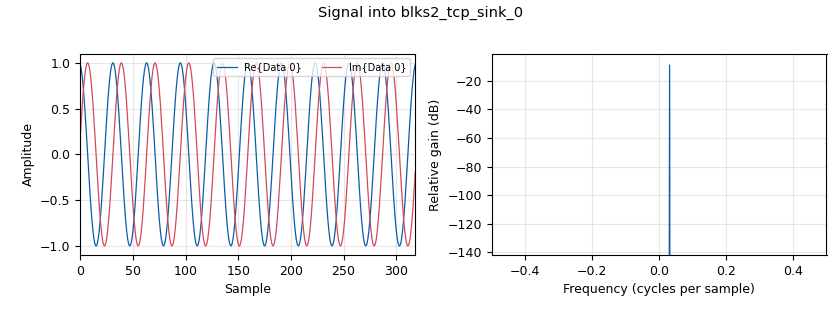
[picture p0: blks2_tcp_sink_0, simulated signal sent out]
<?xml version='1.0' encoding='utf-8'?>
<?grc format='1' created='3.7.11'?>
<flow_graph>
<block>
<key>options</key>
<param><key>id</key><value>top_block_client</value></param>
<param><key>generate_options</key><value>qt_gui</value></param>
</block>
<block>
<key>variable_qtgui_entry</key>
<param><key>id</key><value>freq</value></param>
<param><key>value</key><value>1e3</value></param>
<param><key>type</key><value>real</value></param>
</block>
<block>
<key>variable</key>
<param><key>id</key><value>samp_rate</value></param>
<param><key>value</key><value>32000</value></param>
</block>
<block>
<key>analog_sig_source_x</key>
<param><key>id</key><value>analog_sig_source_x_0</value></param>
<param><key>amp</key><value>1</value></param>
<param><key>freq</key><value>freq</value></param>
<param><key>offset</key><value>0</value></param>
<param><key>type</key><value>complex</value></param>
<param><key>samp_rate</key><value>samp_rate</value></param>
<param><key>waveform</key><value>analog.GR_COS_WAVE</value></param>
</block>
<block>
<key>blks2_tcp_sink</key>
<param><key>id</key><value>blks2_tcp_sink_0</value></param>
<param><key>addr</key><value>127.0.0.1</value></param>
<param><key>type</key><value>complex</value></param>
<param><key>server</key><value>False</value></param>
<param><key>port</key><value>12345</value></param>
<param><key>vlen</key><value>1</value></param>
</block>
<block>
<key>blocks_throttle</key>
<param><key>id</key><value>blocks_throttle_0</value></param>
<param><key>samples_per_second</key><value>samp_rate</value></param>
<param><key>type</key><value>complex</value></param>
</block>
<block>
<key>qtgui_time_sink_x</key>
<param><key>id</key><value>qtgui_time_sink_x_0</value></param>
<param><key>_enabled</key><value>0</value></param>
<param><key>color1</key><value>"blue"</value></param>
<param><key>label1</key><value></value></param>
<param><key>color2</key><value>"red"</value></param>
<param><key>label2</key><value></value></param>
<param><key>size</key><value>1024</value></param>
<param><key>srate</key><value>samp_rate</value></param>
<param><key>type</key><value>complex</value></param>
</block>
<connection><source_block_id>analog_sig_source_x_0</source_block_id><sink_block_id>blocks_throttle_0</sink_block_id><source_key>0</source_key><sink_key>0</sink_key></connection>
<connection><source_block_id>blocks_throttle_0</source_block_id><sink_block_id>blks2_tcp_sink_0</sink_block_id><source_key>0</source_key><sink_key>0</sink_key></connection>
<connection><source_block_id>blocks_throttle_0</source_block_id><sink_block_id>qtgui_time_sink_x_0</sink_block_id><source_key>0</source_key><sink_key>0</sink_key></connection>
</flow_graph>
